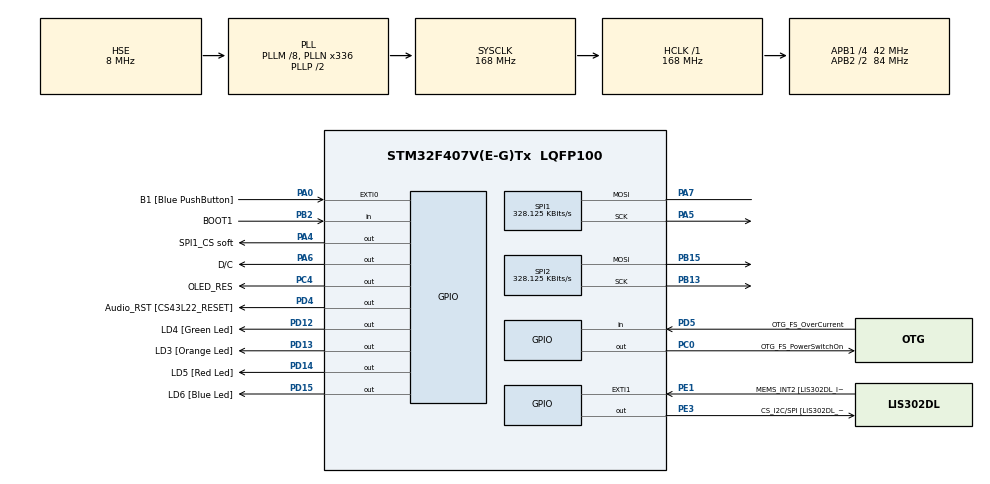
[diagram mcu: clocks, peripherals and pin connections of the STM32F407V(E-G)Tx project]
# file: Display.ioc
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Dma.Request0=SPI1_TX
Dma.Request1=SPI2_TX
Dma.SPI1_TX.0.Direction=DMA_MEMORY_TO_PERIPH
Dma.SPI1_TX.0.FIFOMode=DMA_FIFOMODE_DISABLE
Dma.SPI1_TX.0.Instance=DMA2_Stream3
Dma.SPI1_TX.0.MemDataAlignment=DMA_MDATAALIGN_BYTE
Dma.SPI1_TX.0.MemInc=DMA_MINC_ENABLE
Dma.SPI1_TX.0.Mode=DMA_NORMAL
Dma.SPI1_TX.0.PeriphDataAlignment=DMA_PDATAALIGN_BYTE
Dma.SPI1_TX.0.PeriphInc=DMA_PINC_DISABLE
Dma.SPI1_TX.0.Priority=DMA_PRIORITY_LOW
Dma.SPI2_TX.1.Direction=DMA_MEMORY_TO_PERIPH
Dma.SPI2_TX.1.FIFOMode=DMA_FIFOMODE_DISABLE
Dma.SPI2_TX.1.Instance=DMA1_Stream4
Dma.SPI2_TX.1.MemDataAlignment=DMA_MDATAALIGN_HALFWORD
Dma.SPI2_TX.1.MemInc=DMA_MINC_ENABLE
Dma.SPI2_TX.1.Mode=DMA_NORMAL
Dma.SPI2_TX.1.PeriphDataAlignment=DMA_PDATAALIGN_HALFWORD
Dma.SPI2_TX.1.PeriphInc=DMA_PINC_DISABLE
Dma.SPI2_TX.1.Priority=DMA_PRIORITY_LOW
Mcu.Family=STM32F4
Mcu.Name=STM32F407V(E-G)Tx
Mcu.Package=LQFP100
NVIC.DMA1_Stream4_IRQn=true\:0\:0\:false\:false\:true\:false\:true
NVIC.DMA2_Stream3_IRQn=true\:0\:0\:false\:false\:true\:false\:true
NVIC.PriorityGroup=NVIC_PRIORITYGROUP_0
PA0-WKUP.GPIO_Label=B1 [Blue PushButton]
PA0-WKUP.GPIO_ModeDefaultEXTI=GPIO_MODE_EVT_RISING
PA0-WKUP.GPIO_PuPd=GPIO_NOPULL
PA0-WKUP.Signal=GPXTI0
PA10.GPIO_Label=OTG_FS_ID
PA10.GPIO_Mode=GPIO_MODE_AF_PP
PA10.GPIO_PuPd=GPIO_NOPULL
PA10.GPIO_Speed=GPIO_SPEED_FREQ_LOW
PA10.Signal=USB_OTG_FS_ID
PA11.GPIO_Label=OTG_FS_DM
PA11.GPIO_Mode=GPIO_MODE_AF_PP
PA11.GPIO_PuPd=GPIO_NOPULL
PA11.GPIO_Speed=GPIO_SPEED_FREQ_LOW
PA11.Signal=USB_OTG_FS_DM
PA12.GPIO_Label=OTG_FS_DP
PA12.GPIO_Mode=GPIO_MODE_AF_PP
PA12.GPIO_PuPd=GPIO_NOPULL
PA12.GPIO_Speed=GPIO_SPEED_FREQ_LOW
PA12.Signal=USB_OTG_FS_DP
PA13.GPIO_Label=SWDIO
PA13.Mode=Serial_Wire
PA13.Signal=SYS_JTMS-SWDIO
PA14.GPIO_Label=SWCLK
PA14.Mode=Serial_Wire
PA14.Signal=SYS_JTCK-SWCLK
PA4.GPIO_Label=SPI1_CS soft
PA4.GPIO_PuPd=GPIO_PULLDOWN
PA4.Signal=GPIO_Output
PA5.Mode=Simplex_Bidirectional_Master
PA5.Signal=SPI1_SCK
PA6.GPIO_Label=D/C
PA6.GPIO_PuPd=GPIO_PULLDOWN
PA6.Signal=GPIO_Output
PA7.Mode=Simplex_Bidirectional_Master
PA7.Signal=SPI1_MOSI
PA9.GPIO_Label=VBUS_FS
PA9.GPIO_Mode=GPIO_MODE_INPUT
PA9.GPIO_PuPd=GPIO_NOPULL
PA9.Signal=USB_OTG_FS_VBUS
PB10.GPIO_Label=CLK_IN [MP45DT02_CLK]
PB10.GPIO_Mode=GPIO_MODE_AF_PP
PB10.GPIO_PuPd=GPIO_NOPULL
PB10.GPIO_Speed=GPIO_SPEED_FREQ_LOW
PB10.Signal=I2S2_CK
PB13.GPIO_PuPd=GPIO_PULLDOWN
PB13.Mode=TX_Only_Simplex_Unidirect_Master
PB13.Signal=SPI2_SCK
PB15.GPIO_PuPd=GPIO_NOPULL
PB15.Mode=TX_Only_Simplex_Unidirect_Master
PB15.Signal=SPI2_MOSI
PB2.GPIO_Label=BOOT1
PB2.GPIO_Mode=GPIO_MODE_INPUT
PB2.GPIO_PuPd=GPIO_NOPULL
PB2.Signal=GPIO_Input
PB3.GPIO_Label=SWO
PB3.Signal=SYS_JTDO-SWO
PB6.GPIO_Label=Audio_SCL [CS43L22_SCL]
PB6.GPIO_Mode=GPIO_MODE_AF_OD
PB6.GPIO_PuPd=GPIO_NOPULL
PB6.GPIO_Speed=GPIO_SPEED_FREQ_LOW
PB6.Signal=I2C1_SCL
PB9.GPIO_Label=Audio_SDA [CS43L22_SDA]
PB9.GPIO_Mode=GPIO_MODE_AF_OD
PB9.GPIO_PuPd=GPIO_NOPULL
PB9.GPIO_Speed=GPIO_SPEED_FREQ_LOW
PB9.Signal=I2C1_SDA
PC0.GPIO_Label=OTG_FS_PowerSwitchOn
PC0.GPIO_PuPd=GPIO_NOPULL
PC0.GPIO_Speed=GPIO_SPEED_FREQ_LOW
PC0.PinState=GPIO_PIN_SET
PC0.Signal=GPIO_Output
PC10.GPIO_Label=I2S3_SCK [CS43L22_SCLK]
PC10.GPIO_Mode=GPIO_MODE_AF_PP
PC10.GPIO_PuPd=GPIO_NOPULL
PC10.GPIO_Speed=GPIO_SPEED_FREQ_LOW
PC10.Signal=I2S3_CK
PC12.GPIO_Label=I2S3_SD [CS43L22_SDIN]
PC12.GPIO_Mode=GPIO_MODE_AF_PP
PC12.GPIO_PuPd=GPIO_NOPULL
PC12.GPIO_Speed=GPIO_SPEED_FREQ_LOW
PC12.Signal=I2S3_SD
PC14-OSC32_IN.GPIO_Label=PC14-OSC32_IN
PC14-OSC32_IN.Mode=LSE-External-Oscillator
PC14-OSC32_IN.Signal=RCC_OSC32_IN
PC15-OSC32_OUT.GPIO_Label=PC15-OSC32_OUT
PC15-OSC32_OUT.Mode=LSE-External-Oscillator
PC15-OSC32_OUT.Signal=RCC_OSC32_OUT
PC3.GPIO_Label=PDM_OUT [MP45DT02_DOUT]
PC3.GPIO_Mode=GPIO_MODE_AF_PP
PC3.GPIO_PuPd=GPIO_NOPULL
PC3.GPIO_Speed=GPIO_SPEED_FREQ_LOW
PC3.Signal=I2S2_SD
PC4.GPIO_Label=OLED_RES
PC4.GPIO_PuPd=GPIO_PULLDOWN
PC4.Signal=GPIO_Output
PC7.GPIO_Label=I2S3_MCK [CS43L22_MCLK]
PC7.GPIO_Mode=GPIO_MODE_AF_PP
PC7.GPIO_PuPd=GPIO_NOPULL
PC7.GPIO_Speed=GPIO_SPEED_FREQ_LOW
PC7.Signal=I2S3_MCK
PD12.GPIO_Label=LD4 [Green Led]
PD12.GPIO_PuPd=GPIO_NOPULL
PD12.GPIO_Speed=GPIO_SPEED_FREQ_LOW
PD12.Signal=GPIO_Output
PD13.GPIO_Label=LD3 [Orange Led]
PD13.GPIO_PuPd=GPIO_NOPULL
PD13.GPIO_Speed=GPIO_SPEED_FREQ_LOW
PD13.Signal=GPIO_Output
PD14.GPIO_Label=LD5 [Red Led]
PD14.GPIO_PuPd=GPIO_NOPULL
PD14.GPIO_Speed=GPIO_SPEED_FREQ_LOW
PD14.Signal=GPIO_Output
PD15.GPIO_Label=LD6 [Blue Led]
PD15.GPIO_PuPd=GPIO_NOPULL
PD15.GPIO_Speed=GPIO_SPEED_FREQ_LOW
PD15.Signal=GPIO_Output
PD4.GPIO_Label=Audio_RST [CS43L22_RESET]
PD4.GPIO_PuPd=GPIO_NOPULL
PD4.GPIO_Speed=GPIO_SPEED_FREQ_LOW
PD4.Signal=GPIO_Output
PD5.GPIO_Label=OTG_FS_OverCurrent
PD5.GPIO_Mode=GPIO_MODE_INPUT
PD5.GPIO_PuPd=GPIO_NOPULL
PD5.Signal=GPIO_Input
PE1.GPIO_Label=MEMS_INT2 [LIS302DL_INT2]
PE1.GPIO_ModeDefaultEXTI=GPIO_MODE_EVT_RISING
PE1.GPIO_PuPd=GPIO_NOPULL
PE1.Signal=GPXTI1
PE3.GPIO_Label=CS_I2C/SPI [LIS302DL_CS_I2C/SPI]
PE3.GPIO_PuPd=GPIO_NOPULL
PE3.GPIO_Speed=GPIO_SPEED_FREQ_LOW
PE3.Signal=GPIO_Output
PH0-OSC_IN.GPIO_Label=PH0-OSC_IN
PH0-OSC_IN.Mode=HSE-External-Oscillator
PH0-OSC_IN.Signal=RCC_OSC_IN
PH1-OSC_OUT.GPIO_Label=PH1-OSC_OUT
PH1-OSC_OUT.Mode=HSE-External-Oscillator
PH1-OSC_OUT.Signal=RCC_OSC_OUT
ProjectManager.HeapSize=0x200
ProjectManager.StackSize=0x400
ProjectManager.TargetToolchain=TrueSTUDIO
RCC.48MHZClocksFreq_Value=48000000
RCC.AHBFreq_Value=168000000
RCC.APB1CLKDivider=RCC_HCLK_DIV4
RCC.APB1Freq_Value=42000000
RCC.APB1TimFreq_Value=84000000
RCC.APB2CLKDivider=RCC_HCLK_DIV2
RCC.APB2Freq_Value=84000000
RCC.APB2TimFreq_Value=168000000
RCC.CortexFreq_Value=168000000
RCC.HCLKFreq_Value=168000000
RCC.HSE_VALUE=8000000
RCC.HSI_VALUE=16000000
RCC.PLLM=8
RCC.PLLN=336
RCC.PLLQ=7
RCC.PLLSourceVirtual=RCC_PLLSOURCE_HSE
RCC.SYSCLKFreq_VALUE=168000000
RCC.SYSCLKSource=RCC_SYSCLKSOURCE_PLLCLK
RCC.VCOOutputFreq_Value=336000000
SPI1.BaudRatePrescaler=SPI_BAUDRATEPRESCALER_256
SPI1.CalculateBaudRate=328.125 KBits/s
SPI1.Direction=SPI_DIRECTION_1LINE
SPI1.Mode=SPI_MODE_MASTER
SPI1.VirtualType=VM_MASTER
SPI2.BaudRatePrescaler=SPI_BAUDRATEPRESCALER_128
SPI2.CalculateBaudRate=328.125 KBits/s
SPI2.Direction=SPI_DIRECTION_2LINES
SPI2.Mode=SPI_MODE_MASTER
SPI2.VirtualType=VM_MASTER
board=STM32F407G-DISC1

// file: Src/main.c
/* USER CODE BEGIN Header */
/**
  ******************************************************************************
  * @file           : main.c
  * @brief          : Main program body
  ******************************************************************************
  * @attention
  *
  * <h2><center>&copy; Copyright (c) 2020 STMicroelectronics.
  * All rights reserved.</center></h2>
  *
  * This software component is licensed by ST under BSD 3-Clause license,
  * the "License"; You may not use this file except in compliance with the
  * License. You may obtain a copy of the License at:
  *                        opensource.org/licenses/BSD-3-Clause
  *
  ******************************************************************************
  */
/* USER CODE END Header */

#include "main.h"
#include "dma.h"
#include "spi.h"
#include "gpio.h"

/* USER CODE BEGIN Includes */
#include "u8g2.h"
/* USER CODE END Includes */

/* USER CODE BEGIN PD */
static u8g2_t u8g2;
/* USER CODE END PD */

void SystemClock_Config(void);

/* USER CODE BEGIN 0 */
uint8_t LoadWindow(u8g2_t*);

uint8_t u8x8_stm32_gpio_and_delay(U8X8_UNUSED u8x8_t *u8x8,
    U8X8_UNUSED uint8_t msg, U8X8_UNUSED uint8_t arg_int,
    U8X8_UNUSED void *arg_ptr)
{
  switch (msg)
  {
  case U8X8_MSG_GPIO_AND_DELAY_INIT:
    HAL_Delay(1);
    break;
  case U8X8_MSG_DELAY_MILLI:
    HAL_Delay(arg_int);
    break;
  case U8X8_MSG_GPIO_DC:
    HAL_GPIO_WritePin(D_C_GPIO_Port, D_C_Pin, arg_int);
    break;
  case U8X8_MSG_GPIO_RESET:
    HAL_GPIO_WritePin(OLED_RES_GPIO_Port, OLED_RES_Pin, arg_int);
    break;
  }
  return 1;
}

uint8_t u8x8_byte_4wire_hw_spi(u8x8_t *u8x8, uint8_t msg, uint8_t arg_int,
    void *arg_ptr)
{
  switch (msg)
  {
  case U8X8_MSG_BYTE_SEND:
    HAL_SPI_Transmit(&hspi2, (uint8_t *) arg_ptr, arg_int,100);
    break;
  case U8X8_MSG_BYTE_INIT:
    break;
  case U8X8_MSG_BYTE_SET_DC:
    HAL_GPIO_WritePin(D_C_GPIO_Port, D_C_Pin, arg_int);
    break;
  case U8X8_MSG_BYTE_START_TRANSFER:
	HAL_GPIO_WritePin(SPI1_CS_soft_GPIO_Port, SPI1_CS_soft_Pin, GPIO_PIN_SET);
	__NOP(); // 21 ns
    break;
  case U8X8_MSG_BYTE_END_TRANSFER:
	__NOP(); // 21 ns
	HAL_GPIO_WritePin(SPI1_CS_soft_GPIO_Port, SPI1_CS_soft_Pin, GPIO_PIN_RESET);
    break;
  default:
    return 0;
  }
  return 1;
}

#define logo51_width 243
#define logo51_height 48
static unsigned char logo51_bits[] = {
   0x00, 0x00, 0x00, 0x00, 0x00, 0x00, 0x00, 0x00, 0x00, 0x00, 0x00, 0x00,
   0x00, 0x00, 0x00, 0x00, 0x00, 0x00, 0x00, 0x00, 0x00, 0x00, 0x00, 0x00,
   0x00, 0x00, 0x00, 0x00, 0x00, 0x00, 0x00, 0x00, 0x00, 0x00, 0x03, 0x00,
   0x00, 0x00, 0x00, 0x00, 0x00, 0x00, 0x00, 0x00, 0x00, 0x00, 0x00, 0x00,
   0x00, 0x00, 0x00, 0x00, 0x00, 0x00, 0x00, 0x00, 0x00, 0x00, 0x00, 0x00,
   0x00, 0x00, 0x00, 0x00, 0x86, 0x01, 0x00, 0x18, 0x00, 0x00, 0x00, 0x00,
   0x00, 0x00, 0x00, 0x00, 0x00, 0x00, 0x00, 0x00, 0x00, 0x00, 0x00, 0x00,
   0x00, 0x00, 0x00, 0x00, 0x00, 0x00, 0x00, 0x00, 0x00, 0x00, 0x00, 0xc7,
   0x00, 0x00, 0x3c, 0x00, 0x00, 0x00, 0x00, 0x00, 0x00, 0x00, 0x00, 0x00,
   0x00, 0x00, 0x00, 0x00, 0x00, 0x00, 0x00, 0x00, 0x00, 0x00, 0x00, 0x00,
   0x00, 0x00, 0x00, 0x00, 0x00, 0x80, 0x63, 0x04, 0x00, 0x3e, 0x00, 0x00,
   0x00, 0x00, 0x00, 0x00, 0x00, 0x00, 0x00, 0x00, 0x00, 0x00, 0x00, 0x00,
   0x00, 0x00, 0x00, 0x00, 0x00, 0x00, 0x00, 0x00, 0x00, 0x00, 0x00, 0x00,
   0xc0, 0x31, 0x0e, 0x00, 0x1f, 0x00, 0x00, 0x00, 0x00, 0x00, 0x00, 0x00,
   0x00, 0x00, 0x00, 0x00, 0x00, 0x00, 0x00, 0x00, 0x00, 0x00, 0x00, 0x00,
   0x00, 0x00, 0x00, 0x00, 0x00, 0x00, 0x00, 0xe0, 0x18, 0x07, 0x80, 0x0f,
   0x00, 0x00, 0x00, 0x00, 0x00, 0x00, 0x00, 0x00, 0x00, 0x00, 0x00, 0x00,
   0x00, 0x00, 0x00, 0x00, 0x00, 0x00, 0x00, 0x00, 0x00, 0x00, 0x00, 0x00,
   0x00, 0x00, 0x70, 0x8c, 0x03, 0xc0, 0x07, 0x00, 0x00, 0x00, 0x00, 0x00,
   0x00, 0x00, 0x00, 0x00, 0x00, 0x00, 0x00, 0x00, 0x00, 0x00, 0x00, 0x00,
   0x00, 0x00, 0x00, 0x00, 0x00, 0x00, 0x00, 0x00, 0x00, 0x38, 0xc6, 0x01,
   0xe0, 0x03, 0x00, 0x00, 0x00, 0x00, 0x00, 0x00, 0x00, 0x00, 0x00, 0x00,
   0x00, 0x00, 0x00, 0x00, 0x00, 0x00, 0x00, 0x00, 0x00, 0x00, 0x00, 0x00,
   0x00, 0x00, 0x00, 0x00, 0x1c, 0xe3, 0x00, 0xf0, 0x01, 0x00, 0x00, 0x00,
   0x00, 0x00, 0x00, 0x00, 0x00, 0x00, 0x00, 0x00, 0x00, 0x00, 0x00, 0x00,
   0x00, 0x00, 0x00, 0x00, 0x00, 0x00, 0x00, 0x00, 0x00, 0x00, 0x00, 0x8e,
   0x71, 0x00, 0xf8, 0x00, 0x00, 0x00, 0x00, 0x00, 0x00, 0x00, 0x00, 0x00,
   0x00, 0x00, 0x00, 0x00, 0x00, 0x00, 0x00, 0x00, 0x00, 0x00, 0x00, 0x00,
   0x00, 0x00, 0x00, 0x00, 0x00, 0x00, 0xc7, 0x38, 0x00, 0x7c, 0x00, 0x00,
   0x00, 0x00, 0x00, 0x00, 0x00, 0x00, 0xf0, 0x0f, 0x00, 0xf0, 0xff, 0x01,
   0x00, 0x00, 0x80, 0x01, 0xc0, 0x81, 0x01, 0x00, 0x03, 0xf0, 0x3f, 0x00,
   0x80, 0x63, 0x9c, 0x01, 0x3e, 0x00, 0x00, 0x00, 0xff, 0x0f, 0xfc, 0xff,
   0x01, 0xfc, 0x3f, 0x00, 0xf8, 0xff, 0x03, 0xff, 0xff, 0x83, 0x01, 0xc0,
   0x81, 0x01, 0x00, 0x03, 0xf8, 0x7f, 0x00, 0xc0, 0x31, 0xce, 0x01, 0x1f,
   0x00, 0x00, 0xc0, 0xff, 0x0f, 0xfe, 0xff, 0x01, 0x0e, 0x70, 0x00, 0x1c,
   0x00, 0x07, 0xff, 0xff, 0x83, 0x01, 0xe0, 0x81, 0x01, 0x00, 0x03, 0x1c,
   0xe0, 0x00, 0xe0, 0x18, 0xe7, 0x80, 0x0f, 0x00, 0x00, 0xc0, 0x00, 0x00,
   0x06, 0x00, 0x00, 0x07, 0xc0, 0x00, 0x0c, 0x00, 0x06, 0x00, 0x03, 0x80,
   0x01, 0xf0, 0x81, 0x01, 0x00, 0x03, 0x0e, 0xc0, 0x01, 0x40, 0x8c, 0x73,
   0xc0, 0x07, 0x00, 0x00, 0xe0, 0x00, 0x00, 0x07, 0x00, 0x80, 0x01, 0x80,
   0x01, 0x06, 0x00, 0x0c, 0x00, 0x03, 0x80, 0x01, 0xf0, 0x81, 0x01, 0x00,
   0x03, 0x07, 0x80, 0x03, 0x00, 0xc6, 0x39, 0xe0, 0x03, 0x00, 0x00, 0x60,
   0x00, 0x00, 0x03, 0x00, 0xc0, 0x01, 0x00, 0x03, 0x06, 0x00, 0x0c, 0x00,
   0x03, 0x80, 0x01, 0xb8, 0x81, 0x01, 0x80, 0x01, 0x03, 0x00, 0x03, 0x00,
   0xe3, 0x1c, 0xf0, 0x01, 0x00, 0x00, 0x60, 0x00, 0x00, 0x03, 0x00, 0xc0,
   0x00, 0x00, 0x03, 0x06, 0x00, 0x0c, 0x00, 0x03, 0x80, 0x01, 0x98, 0x81,
   0x01, 0x80, 0x81, 0x01, 0x00, 0x07, 0x80, 0x71, 0x0e, 0xf8, 0x00, 0x00,
   0x00, 0x60, 0x00, 0x00, 0x03, 0x00, 0xc0, 0x00, 0x00, 0x06, 0x06, 0x00,
   0x0c, 0x00, 0x03, 0x80, 0x01, 0x8c, 0x81, 0x01, 0xc0, 0x81, 0x01, 0x00,
   0x06, 0xc0, 0x38, 0x07, 0x7c, 0x00, 0x10, 0x00, 0x60, 0x00, 0x00, 0x03,
   0x00, 0x60, 0x00, 0x00, 0x06, 0x06, 0x00, 0x0c, 0x00, 0x03, 0x80, 0x01,
   0x8e, 0x81, 0x01, 0xe0, 0x80, 0x01, 0x00, 0x00, 0x60, 0x9c, 0x73, 0x3e,
   0x00, 0x0c, 0x01, 0x60, 0x00, 0x00, 0x03, 0x00, 0x60, 0x00, 0x00, 0x06,
   0x06, 0x00, 0x0c, 0x00, 0x03, 0x80, 0x01, 0x86, 0x81, 0x01, 0x60, 0x80,
   0x01, 0x00, 0x00, 0x30, 0xce, 0x39, 0x1f, 0x00, 0x48, 0x01, 0x60, 0x00,
   0x00, 0x03, 0x00, 0x60, 0x00, 0x00, 0x06, 0x06, 0x00, 0x0c, 0x00, 0x03,
   0x80, 0x01, 0x83, 0x81, 0x01, 0x38, 0xc0, 0x00, 0x00, 0x00, 0x00, 0xe7,
   0x9c, 0x0f, 0x18, 0x46, 0x00, 0x60, 0x00, 0x00, 0x03, 0x00, 0x60, 0x00,
   0x00, 0x0c, 0x06, 0x00, 0x0c, 0x00, 0x03, 0x80, 0x01, 0x83, 0x81, 0x01,
   0x1f, 0xc0, 0x00, 0x00, 0x00, 0x80, 0x73, 0xce, 0x07, 0x0c, 0x61, 0x00,
   0x60, 0x00, 0x00, 0xff, 0xff, 0x60, 0x00, 0x00, 0x0c, 0x06, 0x00, 0x0c,
   0x00, 0x03, 0x80, 0x81, 0x81, 0x81, 0xff, 0x3f, 0xc0, 0x00, 0x00, 0x00,
   0xc0, 0x39, 0xe7, 0x03, 0xc2, 0x28, 0x00, 0x60, 0x00, 0x00, 0xff, 0xff,
   0x60, 0x00, 0x00, 0x0c, 0x06, 0x00, 0x0c, 0x00, 0x03, 0x80, 0xc1, 0x81,
   0x81, 0x7f, 0x78, 0xc0, 0x00, 0x00, 0x00, 0xe0, 0x9c, 0xf3, 0x09, 0xc3,
   0x08, 0x02, 0x60, 0x00, 0x00, 0x03, 0x00, 0x60, 0x00, 0x00, 0x0c, 0x06,
   0x00, 0x0c, 0x00, 0x03, 0x80, 0xc1, 0x80, 0x81, 0x01, 0xe0, 0xc0, 0x00,
   0x00, 0x00, 0x70, 0xce, 0xf9, 0x8c, 0x31, 0x8a, 0x01, 0x60, 0x00, 0x00,
   0x03, 0x00, 0x60, 0x00, 0x00, 0x0c, 0x06, 0x00, 0x0c, 0x00, 0x03, 0x80,
   0xe1, 0x80, 0x81, 0x01, 0xc0, 0xc0, 0x01, 0x00, 0x00, 0x20, 0xe7, 0x7c,
   0xc4, 0x20, 0x86, 0x00, 0x60, 0x00, 0x00, 0x03, 0x00, 0x60, 0x00, 0x00,
   0x06, 0x06, 0x00, 0x0c, 0x00, 0x03, 0x80, 0x71, 0x80, 0x81, 0x01, 0xc0,
   0xc1, 0x01, 0x00, 0x00, 0x80, 0x73, 0x3e, 0x63, 0x1c, 0x61, 0x00, 0x60,
   0x00, 0x00, 0x03, 0x00, 0xe0, 0x00, 0x00, 0x06, 0x06, 0x00, 0x0c, 0x00,
   0x03, 0x80, 0x31, 0x80, 0x81, 0x01, 0x80, 0x81, 0x01, 0x00, 0x06, 0xc0,
   0x39, 0x9f, 0x31, 0x84, 0x21, 0x00, 0x60, 0x00, 0x00, 0x03, 0x00, 0xc0,
   0x00, 0x00, 0x07, 0x06, 0x00, 0x0c, 0x00, 0x03, 0x80, 0x39, 0x80, 0x81,
   0x01, 0x80, 0x81, 0x01, 0x00, 0x06, 0xc0, 0x9c, 0xcf, 0x18, 0x63, 0x18,
   0x00, 0x60, 0x00, 0x00, 0x03, 0x00, 0xc0, 0x00, 0x00, 0x03, 0x06, 0x00,
   0x0c, 0x00, 0x03, 0x80, 0x19, 0x80, 0x81, 0x01, 0x00, 0x83, 0x01, 0x00,
   0x07, 0x00, 0xce, 0x67, 0x0c, 0x63, 0x88, 0x00, 0x60, 0x00, 0x00, 0x03,
   0x00, 0xc0, 0x01, 0x00, 0x03, 0x06, 0x00, 0x0c, 0x00, 0x03, 0x80, 0x0d,
   0x80, 0x81, 0x01, 0x00, 0x83, 0x03, 0x00, 0x03, 0x00, 0xe7, 0x33, 0xc6,
   0x28, 0x46, 0x01, 0x60, 0x00, 0x00, 0x07, 0x00, 0x80, 0x03, 0x80, 0x01,
   0x06, 0x00, 0x0c, 0x00, 0x03, 0x80, 0x0f, 0x80, 0x81, 0x01, 0x00, 0x03,
   0x07, 0x80, 0x03, 0x00, 0xf3, 0x19, 0xc3, 0x18, 0x45, 0x00, 0x60, 0x00,
   0x00, 0x06, 0x00, 0x00, 0x07, 0xc0, 0x01, 0x06, 0x00, 0x0c, 0x00, 0x03,
   0x80, 0x07, 0x80, 0x81, 0x01, 0x00, 0x03, 0x0e, 0xc0, 0x01, 0x00, 0xf9,
   0x8c, 0x31, 0x8c, 0x31, 0x00, 0x60, 0x00, 0x00, 0x1e, 0x00, 0x00, 0x0e,
   0xf0, 0x00, 0x06, 0x00, 0x0c, 0x00, 0x03, 0x80, 0x07, 0x80, 0x81, 0x01,
   0x00, 0x03, 0x1c, 0xe0, 0x00, 0x00, 0x7c, 0xc6, 0x30, 0x85, 0x30, 0x00,
   0x60, 0x00, 0x00, 0xf8, 0xff, 0x01, 0xfc, 0x3f, 0x00, 0x06, 0x00, 0x0c,
   0x00, 0x03, 0x80, 0x03, 0x80, 0x81, 0x01, 0x00, 0x03, 0xf8, 0x7f, 0x00,
   0x00, 0x3e, 0x63, 0x0c, 0x63, 0x0c, 0x00, 0x60, 0x00, 0x00, 0xf0, 0xff,
   0x01, 0xf0, 0x0f, 0x00, 0x06, 0x00, 0x0c, 0x00, 0x03, 0x80, 0x03, 0x80,
   0x81, 0x01, 0x00, 0x03, 0xe0, 0x1f, 0x00, 0x00, 0x9f, 0x31, 0x8c, 0x61,
   0x0a, 0x00, 0x00, 0x00, 0x00, 0x00, 0x00, 0x00, 0x00, 0x00, 0x00, 0x00,
   0x00, 0x00, 0x00, 0x00, 0x00, 0x00, 0x00, 0x00, 0x00, 0x00, 0x00, 0x00,
   0x00, 0x00, 0x80, 0xcf, 0x18, 0xe3, 0x18, 0x05, 0x00, 0x00, 0x00, 0x00,
   0x00, 0x00, 0x00, 0x00, 0x00, 0x00, 0x00, 0x00, 0x00, 0x00, 0x00, 0x00,
   0x00, 0x00, 0x00, 0x00, 0x00, 0x00, 0x00, 0x00, 0x00, 0xc0, 0x67, 0x0e,
   0x53, 0x0c, 0x03, 0x00, 0x00, 0x00, 0x00, 0x00, 0x00, 0x00, 0x00, 0x00,
   0x00, 0x00, 0x00, 0x00, 0x00, 0x00, 0x00, 0x00, 0x00, 0x00, 0x00, 0x00,
   0x00, 0x00, 0x00, 0x00, 0xe0, 0x23, 0xc6, 0x30, 0xc6, 0x00, 0x00, 0x00,
   0x00, 0x00, 0x00, 0x00, 0x00, 0x00, 0x00, 0x00, 0x00, 0x00, 0x00, 0x00,
   0x00, 0x00, 0x00, 0x00, 0x00, 0x00, 0x00, 0x00, 0x00, 0x00, 0x00, 0xf0,
   0x01, 0xc3, 0x18, 0xc5, 0x00, 0x00, 0x00, 0x00, 0x00, 0x00, 0x00, 0x00,
   0x00, 0x00, 0x00, 0x00, 0x00, 0x00, 0x00, 0x00, 0x00, 0x00, 0x00, 0x00,
   0x00, 0x00, 0x00, 0x00, 0x00, 0x00, 0xf8, 0x00, 0x31, 0x8e, 0x31, 0x00,
   0x00, 0x00, 0x00, 0x00, 0x00, 0x00, 0x00, 0x00, 0x00, 0x00, 0x00, 0x00,
   0x00, 0x00, 0x00, 0x00, 0x00, 0x00, 0x00, 0x00, 0x00, 0x00, 0x00, 0x00,
   0x00, 0x7c, 0x00, 0x30, 0x86, 0x31, 0x00, 0x00, 0x00, 0x00, 0x00, 0x00,
   0x00, 0x00, 0x00, 0x00, 0x00, 0x00, 0x00, 0x00, 0x00, 0x00, 0x00, 0x00,
   0x00, 0x00, 0x00, 0x00, 0x00, 0x00, 0x00, 0x00, 0x3e, 0x00, 0x08, 0x63,
   0x18, 0x00, 0x00, 0x00, 0x00, 0x00, 0x00, 0x00, 0x00, 0x00, 0x00, 0x00,
   0x00, 0x00, 0x00, 0x00, 0x00, 0x00, 0x00, 0x00, 0x00, 0x00, 0x00, 0x00,
   0x00, 0x00, 0x00, 0x1f, 0x00, 0x80, 0x71, 0x00, 0x00, 0x00, 0x00, 0x00,
   0x00, 0x00, 0x00, 0x00, 0x00, 0x00, 0x00, 0x00, 0x00, 0x00, 0x00, 0x00,
   0x00, 0x00, 0x00, 0x00, 0x00, 0x00, 0x00, 0x00, 0x00, 0x00, 0x0f, 0x00,
   0x00, 0x00, 0x00, 0x00, 0x00, 0x00, 0x00, 0x00, 0x00, 0x00, 0x00, 0x00,
   0x00, 0x00, 0x00, 0x00, 0x00, 0x00, 0x00, 0x00, 0x00, 0x00, 0x00, 0x00,
   0x00, 0x00, 0x00, 0x00, 0x00, 0x06, 0x00, 0x00, 0x00, 0x00, 0x00, 0x00,
   0x00, 0x00, 0x00, 0x00, 0x00, 0x00, 0x00, 0x00, 0x00, 0x00, 0x00, 0x00,
   0x00, 0x00, 0x00, 0x00, 0x00, 0x00, 0x00, 0x00, 0x00, 0x00, 0x00, 0x00 };

/* USER CODE END 0 */

int main(void)
{

  /* MCU Configuration--------------------------------------------------------*/

  /* Reset of all peripherals, Initializes the Flash interface and the Systick. */
  HAL_Init();

  /* Configure the system clock */
  SystemClock_Config();

  /* Initialize all configured peripherals */
  MX_GPIO_Init();
  MX_DMA_Init();
  MX_SPI1_Init();
  MX_SPI2_Init();
  /* USER CODE BEGIN 2 */
  HAL_Delay(100);
  u8g2_Setup_ssd1322_nhd_256x64_f(&u8g2, U8G2_R0, u8x8_byte_4wire_hw_spi,
        u8x8_stm32_gpio_and_delay);
    u8g2_InitDisplay(&u8g2);
    u8g2_ClearDisplay(&u8g2);
    u8g2_SetPowerSave(&u8g2, 0);
//
//    u8g2_ClearDisplay(&u8g2);
//    u8g2_ClearBuffer(&u8g2);

    uint8_t testFlag = 0;
    uint16_t temp = 1;
    char tempr[10];
  /* USER CODE END 2 */

  /* Infinite loop */
  /* USER CODE BEGIN WHILE */
  while (1)
  {

	 if(!testFlag){
		 LoadWindow(&u8g2);
		 testFlag++;
	 }
	 else{
		 	  u8g2_ClearBuffer(&u8g2);

		 	  u8g2_SetFont(&u8g2, u8g2_font_ncenB10_te);
		 	  u8g2_DrawStr(&u8g2, 12, 10, "Temperature");
		 	  u8g2_DrawStr(&u8g2, 12, 30, "Pressure");
		 	  u8g2_DrawStr(&u8g2, 12, 50, "Current");
		 	  u8g2_DrawStr(&u8g2, 200, 10, itoa(temp,tempr,10));
		 	  u8g2_DrawStr(&u8g2, 200, 30, itoa(temp,tempr,10));
		 	  u8g2_DrawStr(&u8g2, 200, 50, itoa(temp,tempr,10));

		 	  u8g2_SendBuffer(&u8g2);

		 	  temp = (temp<20) ? temp + 1 : 0;
	 }
	 GPIOD->ODR ^= 1<<12;

    /* USER CODE END WHILE */

  }
}

void SystemClock_Config(void)
{
  RCC_OscInitTypeDef RCC_OscInitStruct = {0};
  RCC_ClkInitTypeDef RCC_ClkInitStruct = {0};

  /** Configure the main internal regulator output voltage
  */
  __HAL_RCC_PWR_CLK_ENABLE();
  __HAL_PWR_VOLTAGESCALING_CONFIG(PWR_REGULATOR_VOLTAGE_SCALE1);
  /** Initializes the CPU, AHB and APB busses clocks
  */
  RCC_OscInitStruct.OscillatorType = RCC_OSCILLATORTYPE_HSE;
  RCC_OscInitStruct.HSEState = RCC_HSE_ON;
  RCC_OscInitStruct.PLL.PLLState = RCC_PLL_ON;
  RCC_OscInitStruct.PLL.PLLSource = RCC_PLLSOURCE_HSE;
  RCC_OscInitStruct.PLL.PLLM = 8;
  RCC_OscInitStruct.PLL.PLLN = 336;
  RCC_OscInitStruct.PLL.PLLP = RCC_PLLP_DIV2;
  RCC_OscInitStruct.PLL.PLLQ = 7;
  if (HAL_RCC_OscConfig(&RCC_OscInitStruct) != HAL_OK)
  {
    Error_Handler();
  }
  /** Initializes the CPU, AHB and APB busses clocks
  */
  RCC_ClkInitStruct.ClockType = RCC_CLOCKTYPE_HCLK|RCC_CLOCKTYPE_SYSCLK
                              |RCC_CLOCKTYPE_PCLK1|RCC_CLOCKTYPE_PCLK2;
  RCC_ClkInitStruct.SYSCLKSource = RCC_SYSCLKSOURCE_PLLCLK;
  RCC_ClkInitStruct.AHBCLKDivider = RCC_SYSCLK_DIV1;
  RCC_ClkInitStruct.APB1CLKDivider = RCC_HCLK_DIV4;
  RCC_ClkInitStruct.APB2CLKDivider = RCC_HCLK_DIV2;

  if (HAL_RCC_ClockConfig(&RCC_ClkInitStruct, FLASH_LATENCY_5) != HAL_OK)
  {
    Error_Handler();
  }
}

/* USER CODE BEGIN 4 */

uint8_t LoadWindow(u8g2_t *u8g2){
	u8g2_ClearBuffer(u8g2);

	u8g2_DrawXBMP(u8g2, 8, 0, logo51_width, logo51_height, &logo51_bits);
	u8g2_SetFont(u8g2, u8g2_font_ncenB10_te);
	u8g2_DrawStr(u8g2, 100, 60, "Loading . ");
	u8g2_SendBuffer(u8g2);
	HAL_Delay(500);

	u8g2_DrawStr(u8g2, 100, 60, "Loading . . ");
	u8g2_SendBuffer(u8g2);
	HAL_Delay(500);

	u8g2_DrawStr(u8g2, 100, 60, "Loading . . . ");
	u8g2_SendBuffer(u8g2);
	HAL_Delay(500);
	return 0;
}

/* USER CODE END 4 */

void Error_Handler(void)
{
}

/************************ (C) COPYRIGHT STMicroelectronics *****END OF FILE****/
